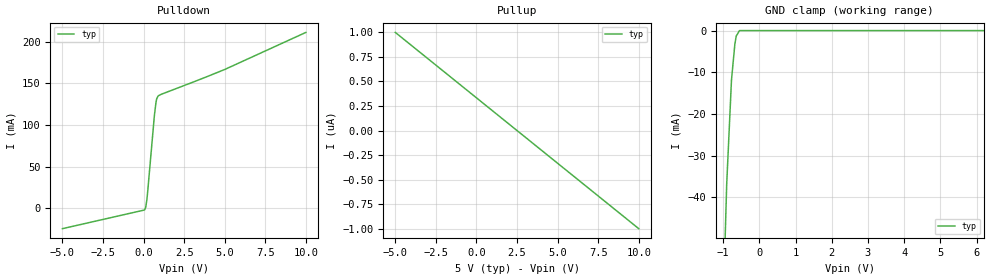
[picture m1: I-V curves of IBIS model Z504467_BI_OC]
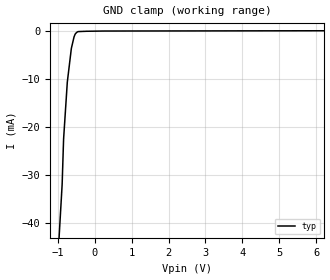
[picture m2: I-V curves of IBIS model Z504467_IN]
| YOU ARE ONLY AUTHORIZED TO USE THIS SOFTWARE
| ACCORDING TO LICENSOR'S LICENSE RESTRICTIONS.
[IBIS Ver] 3.1
[File Name] sn54ls641j.ibs
[File Rev] 2.0
[Source] Measured and created by ICX Technology
[Date] Friday 7/14/00 9:08:15 AM
[Copyright]
| (C) COPYRIGHT 1993-2000
| MENTOR GRAPHICS CORPORATION
| ICX STANDARD LIBRARY, ICX PROJECT MODELING,
| ICX CUSTOM MODELING, ICX VENDOR MODEL
| ALL RIGHTS RESERVED.
| THE FOLLOWING ARE TRADEMARKS OR SERVICE MARKS OF
| MENTOR GRAPHICS CORPORATION:ICX (R), ICX STANDARD
| LIBRARY(R), ICX PROJECT MODELING(R), ICX CUSTOM
| MODELING(R), qualityIBIS(TM), MODELVIEWER(TM),
| AND MODELEDITOR(TM)
| ALL COPIES OF SOFTWARE, INCLUDING BUT NOT LIMITED TO
| ANY MODIFICATIONS, ENHANCEMENTS OR DERIVATIVE WORKS,
| MUST CONTAIN ALL MENTOR GRAPHICS CORPORATION'S
| NOTICES AND LEGENDS, INCLUDING THOSE EMBEDDED IN
| SOFTWARE AND THOSE AFFIXED TO SOFTWARE MEDIUM
| AND CONTAINER, AS RECEIVED FROM MENTOR GRAPHICS
| CORPORATION.
|  ZAP Model Builder 2.7
[Component] SN54LS641J
[Manufacturer] OnSemiconductor
[Package]
| variable   typ   min   max
R_pkg  .216ohms NA NA
L_pkg  5.76nH NA NA
C_pkg  2.193pF NA NA
[Pin] signal_name  model_name  R_pin  L_pin C_pin
1 DIR Z504467_IN .232 9.76n 3.179p
2 A0 Z504467_BI_OC .224 7.26n 2.686p
3 A1 Z504467_BI_OC .216 5.26n 2.193p
4 A2 Z504467_BI_OC .208 3.76n 1.7p
5 A3 Z504467_BI_OC .2 2.76n 1.207p
6 A4 Z504467_BI_OC .2 2.76n 1.207p
7 A5 Z504467_BI_OC .208 3.76n 1.7p
8 A6 Z504467_BI_OC .216 5.26n 2.193p
9 A7 Z504467_BI_OC .224 7.26n 2.686p
10 GND GND .232 9.76n 3.179p
11 B7 Z504467_BI_OC .232 9.76n 3.179p
12 B6 Z504467_BI_OC .224 7.26n 2.686p
13 B5 Z504467_BI_OC .216 5.26n 2.193p
14 B4 Z504467_BI_OC .208 3.76n 1.7p
15 B3 Z504467_BI_OC .2 2.76n 1.207p
16 B2 Z504467_BI_OC .2 2.76n 1.207p
17 B1 Z504467_BI_OC .208 3.76n 1.7p
18 B0 Z504467_BI_OC .216 5.26n 2.193p
19 _G Z504467_IN .224 7.26n 2.686p
20 VCC POWER .232 9.76n 3.179p
| Models and submodels in the file (2): Z504467_BI_OC (I/O_open_sink), Z504467_IN (Input)
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| (C) COPYRIGHT 1993-2000
| MENTOR GRAPHICS CORPORATION
| ICX STANDARD LIBRARY, ICX PROJECT MODELING,
| ICX CUSTOM MODELING, ICX VENDOR MODEL
| ALL RIGHTS RESERVED.
| THE FOLLOWING ARE TRADEMARKS OR SERVICE MARKS OF
| MENTOR GRAPHICS CORPORATION:ICX (R), ICX STANDARD
| LIBRARY(R), ICX PROJECT MODELING(R), ICX CUSTOM
| MODELING(R), qualityIBIS(TM), MODELVIEWER(TM),
| AND MODELEDITOR(TM)
| ALL COPIES OF SOFTWARE, INCLUDING BUT NOT LIMITED TO
| ANY MODIFICATIONS, ENHANCEMENTS OR DERIVATIVE WORKS,
| MUST CONTAIN ALL MENTOR GRAPHICS CORPORATION'S
| NOTICES AND LEGENDS, INCLUDING THOSE EMBEDDED IN
| SOFTWARE AND THOSE AFFIXED TO SOFTWARE MEDIUM
| AND CONTAINER, AS RECEIVED FROM MENTOR GRAPHICS
| CORPORATION.
| Model Application Version 1.89 2/18/99.
[Model] Z504467_BI_OC
Model_type I/O_open_sink
Vinl=800.0mV
Vinh=2.000V
Vref=5.000V
Rref=667.0ohms
Cref=45.00pF
Vmeas=1.300V
C_comp 8.000pF NA NA
| variable typ   min   max
[Voltage Range] 5.000V NA NA
[POWER Clamp Reference] 5.000V NA NA
[Pullup Reference] 5.000V NA NA
[Pulldown Reference] 0.000V NA NA
[GND Clamp Reference] 0.000V NA NA
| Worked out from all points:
|   slope of the pulldown table from 0 to 0.75 V, typ, clamps not added: 5.9 ohm
|   GND clamp passes 1 mA (typ) near -0.62 V on its own axis
[GND Clamp]
-5V       -1.689A    NA         NA
-1.006V   -67.96mA   NA         NA
-902.9mV  -36.88mA   NA         NA
-770.9mV  -11.92mA   NA         NA
-678mV    -3.315mA   NA         NA
-639.7mV  -1.325mA   NA         NA
-548.3mV  0A         NA         NA
10V       0A         NA         NA
[Pulldown]
-5V       -24.33mA   NA         NA
69.12mV   -1.529mA   NA         NA
131mV     1.323mA    NA         NA
199.1mV   10.22mA    NA         NA
247.5mV   19.25mA    NA         NA
667mV     112mA      NA         NA
766.8mV   127.7mA    NA         NA
800.9mV   131.1mA    NA         NA
881.7mV   134.6mA    NA         NA
4.997V    166.7mA    NA         NA
10V       211.2mA    NA         NA
[Pullup]
-5V       1uA        NA         NA
10V       -1uA       NA         NA
[POWER Clamp]
-5V       0A         NA         NA
10V       0A         NA         NA
[Ramp]
| variable typ min max
dV/dt_r 2.852/16.62n NA NA
dV/dt_f 2.852/3.925n NA NA
R_load = 250.0Ohms
| (C) COPYRIGHT 1993-2000
| MENTOR GRAPHICS CORPORATION
| ICX STANDARD LIBRARY, ICX PROJECT MODELING,
| ICX CUSTOM MODELING, ICX VENDOR MODEL
| ALL RIGHTS RESERVED.
| THE FOLLOWING ARE TRADEMARKS OR SERVICE MARKS OF
| MENTOR GRAPHICS CORPORATION:ICX (R), ICX STANDARD
| LIBRARY(R), ICX PROJECT MODELING(R), ICX CUSTOM
| MODELING(R), qualityIBIS(TM), MODELVIEWER(TM),
| AND MODELEDITOR(TM)
| ALL COPIES OF SOFTWARE, INCLUDING BUT NOT LIMITED TO
| ANY MODIFICATIONS, ENHANCEMENTS OR DERIVATIVE WORKS,
| MUST CONTAIN ALL MENTOR GRAPHICS CORPORATION'S
| NOTICES AND LEGENDS, INCLUDING THOSE EMBEDDED IN
| SOFTWARE AND THOSE AFFIXED TO SOFTWARE MEDIUM
| AND CONTAINER, AS RECEIVED FROM MENTOR GRAPHICS
| CORPORATION.
| Model Application Version 1.89 2/18/99.
[Model] Z504467_IN
Model_type Input
Vinl = 800.0mV
Vinh = 2.000V
C_comp 4.000pF NA NA
| variable typ   min   max
[Voltage Range] 5.000V NA NA
[GND Clamp Reference] 0.000V NA NA
[POWER Clamp Reference] 5.000V NA NA
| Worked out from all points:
|   GND clamp passes 1 mA (typ) near -0.54 V on its own axis
[GND Clamp]
-5V       -583.9mA   NA         NA
-878.9mV  -32.04mA   NA         NA
-839.8mV  -22.6mA    NA         NA
-739.1mV  -10.71mA   NA         NA
-629.6mV  -3.676mA   NA         NA
-556.7mV  -1.276mA   NA         NA
-525.2mV  -675.9uA   NA         NA
-483.4mV  -323.3uA   NA         NA
-447.7mV  -175.3uA   NA         NA
-223.8mV  -105.5uA   NA         NA
249mV     -56.45uA   NA         NA
10V       39.29uA    NA         NA
[POWER Clamp]
-5V       0A         NA         NA
10V       0A         NA         NA
